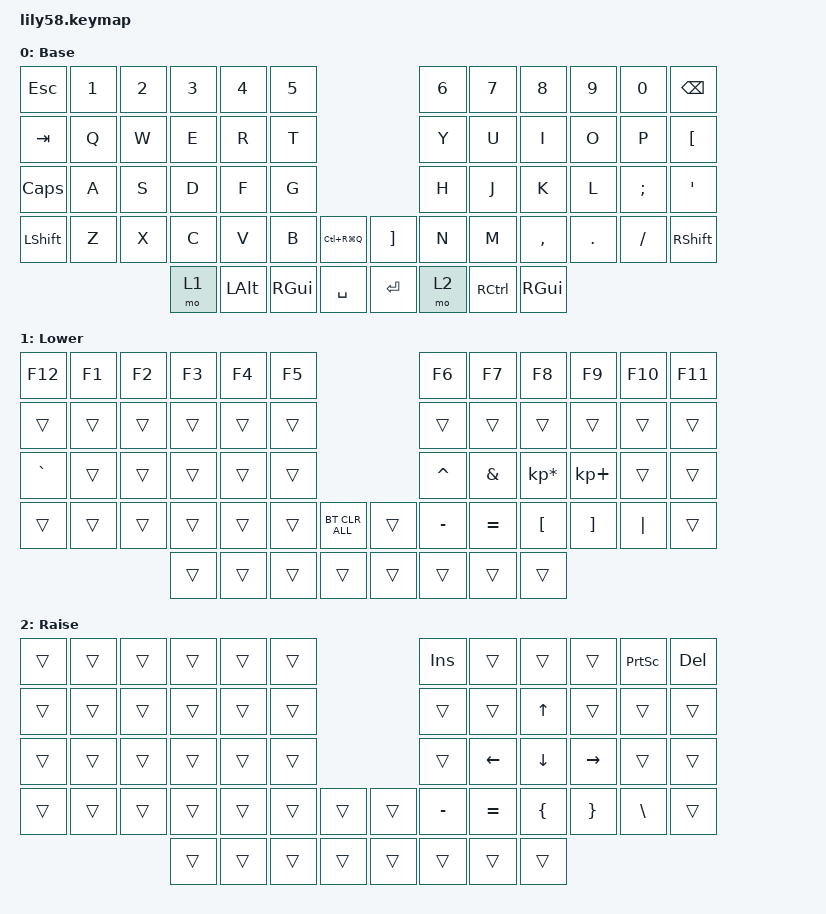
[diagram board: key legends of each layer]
/*
 * Copyright (c) 2020 The ZMK Contributors
 *
 * SPDX-License-Identifier: MIT
 */

#include <behaviors.dtsi>
#include <dt-bindings/zmk/bt.h>
#include <dt-bindings/zmk/keys.h>

/ {
    keymap {
        compatible = "zmk,keymap";

        default_layer {
            // ------------------------------------------------------------------------------------------------------------
            // |  ESC  |  1  |  2  |  3   |  4   |  5   |                   |  6   |  7    |  8    |  9   |   0   |   `   |
            // |  TAB  |  Q  |  W  |  E   |  R   |  T   |                   |  Y   |  U    |  I    |  O   |   P   |   -   |
            // |  CTRL |  A  |  S  |  D   |  F   |  G   |                   |  H   |  J    |  K    |  L   |   ;   |   '   |
            // | SHIFT |  Z  |  X  |  C   |  V   |  B   |   "["  |  |  "]"  |  N   |  M    |  ,    |  .   |   /   | SHIFT |
            //                     | ALT  | GUI  | LOWER|  SPACE |  | ENTER | RAISE| BSPC  | GUI   |

            label = "Base";
            bindings = <
&kp ESC    &kp N1  &kp N2  &kp N3  &kp N4    &kp N5                                        &kp N6  &kp N7     &kp N8     &kp N9   &kp N0    &kp BSPC
&kp TAB    &kp Q   &kp W   &kp E   &kp R     &kp T                                         &kp Y   &kp U      &kp I      &kp O    &kp P     &kp LBKT
&kp CLCK   &kp A   &kp S   &kp D   &kp F     &kp G                                         &kp H   &kp J      &kp K      &kp L    &kp SEMI  &kp SQT
&kp LSHFT  &kp Z   &kp X   &kp C   &kp V     &kp B     &kp LC(RG(Q))    &kp RIGHT_BRACKET  &kp N   &kp M      &kp COMMA  &kp DOT  &kp FSLH  &kp RSHFT
                           &mo 1   &kp LALT  &kp RGUI  &kp SPACE        &kp RET            &mo 2   &kp RCTRL  &kp RGUI
            >;
        };

        lower_layer {
            // ------------------------------------------------------------------------------------------------------------
            // | BTCLR | BT1 | BT2 |  BT3 |  BT4 |  BT5 |                   |      |       |       |      |       |       |
            // |  F1   |  F2 |  F3 |  F4  |  F5  |  F6  |                   |  F7  |  F8   |  F9   |  F10 |  F11  |  F12  |
            // |   `   |  !  |  @  |  #   |  $   |  %   |                   |  ^   |  &    |  *    |  (   |   )   |   ~   |
            // |       |     |     |      |      |      |        |  |       |      |  _    |  +    |  {   |   }   |  "|"  |
            //                     |      |      |      |        |  |       |      |       |       |

            label = "Lower";
            bindings = <
&kp F12    &kp F1  &kp F2  &kp F3  &kp F4  &kp F5                            &kp F6     &kp F7     &kp F8           &kp F9       &kp F10   &kp F11
&trans     &trans  &trans  &trans  &trans  &trans                            &trans     &trans     &trans           &trans       &trans    &trans
&kp GRAVE  &trans  &trans  &trans  &trans  &trans                            &kp CARET  &kp AMPS   &kp KP_MULTIPLY  &kp KP_PLUS  &trans    &trans
&trans     &trans  &trans  &trans  &trans  &trans  &bt BT_CLR_ALL    &trans  &kp MINUS  &kp EQUAL  &kp LBKT         &kp RBKT     &kp PIPE  &trans
                           &trans  &trans  &trans  &trans            &trans  &trans     &trans     &trans
            >;
        };

        raise_layer {
            // ------------------------------------------------------------------------------------------------------------
            // |       |     |     |      |      |      |                   |      |       |       |      |       |       |
            // |   `   |  1  |  2  |  3   |  4   |  5   |                   |  6   |   7   |   8   |  9   |   0   |       |
            // |   F1  |  F2 |  F3 |  F4  |  F5  |  F6  |                   |      |   <-  |   v   |  ^   |  ->   |       |
            // |   F7  |  F8 |  F9 |  F10 |  F11 |  F12 |        |  |       |  +   |   -   |   =   |  [   |   ]   |   \   |
            //                     |      |      |      |        |  |       |      |       |       |

            label = "Raise";
            bindings = <
&trans  &trans  &trans  &trans  &trans  &trans                    &kp INS    &trans     &trans    &trans     &kp PRINTSCREEN  &kp DELETE
&trans  &trans  &trans  &trans  &trans  &trans                    &trans     &trans     &kp UP    &trans     &trans           &trans
&trans  &trans  &trans  &trans  &trans  &trans                    &trans     &kp LEFT   &kp DOWN  &kp RIGHT  &trans           &trans
&trans  &trans  &trans  &trans  &trans  &trans  &trans    &trans  &kp MINUS  &kp EQUAL  &kp LBRC  &kp RBRC   &kp BSLH         &trans
                        &trans  &trans  &trans  &trans    &trans  &trans     &trans     &trans
            >;
        };
    };

    conditional_layers { compatible = "zmk,conditional-layers"; };
};
